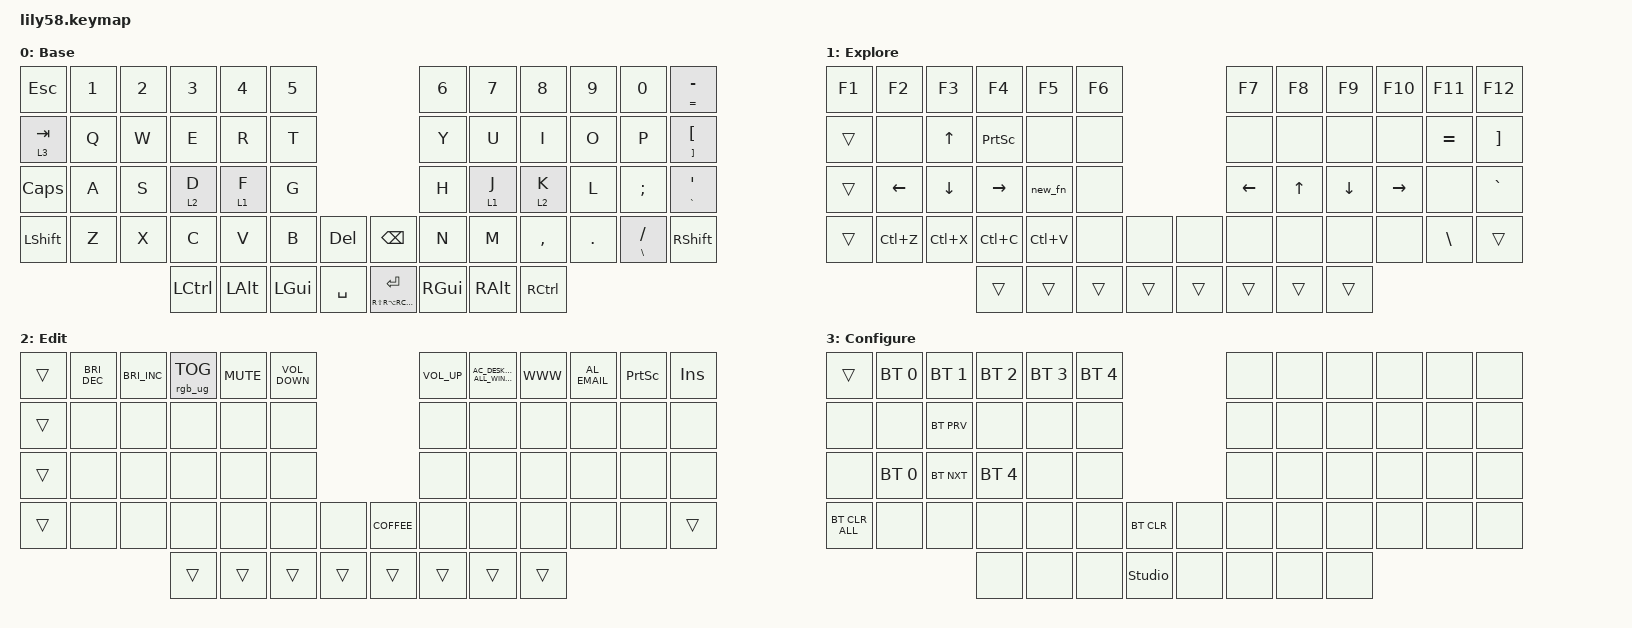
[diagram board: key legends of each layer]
/*
 * Copyright (c) 2020 The ZMK Contributors
 *
 * SPDX-License-Identifier: MIT
 */

#include <behaviors.dtsi>
#include <dt-bindings/zmk/bt.h>
#include <dt-bindings/zmk/keys.h>
#include <dt-bindings/zmk/rgb.h>

/ {
    macros {
        new_fn: new_fn {
            compatible = "zmk,behavior-macro";
            #binding-cells = <0>;
            bindings =
                <&none &kp EQUAL &kp SPACE &kp LPAR &kp RPAR &kp SPACE &kp EQUAL &kp GT &kp SPACE &kp LEFT &kp LEFT &kp LEFT &kp LEFT &kp LEFT>,
                <&macro_press>;

            label = "NEW_FN";
        };
    };

    keymap {
        compatible = "zmk,keymap";

        base {
            // ------------------------------------------------------------------------------------------------------------
            // |  ESC  |  1  |  2  |  3   |  4   |  5   |                   |  6   |  7    |  8    |  9   |   0   |   `   |
            // |  TAB  |  Q  |  W  |  E   |  R   |  T   |                   |  Y   |  U    |  I    |  O   |   P   |   -   |
            // |  CTRL |  A  |  S  |  D   |  F   |  G   |                   |  H   |  J    |  K    |  L   |   ;   |   '   |
            // | SHIFT |  Z  |  X  |  C   |  V   |  B   |   "["  |  |  "]"  |  N   |  M    |  ,    |  .   |   /   | SHIFT |
            //                     | ALT  | GUI  | LOWER|  SPACE |  | ENTER | RAISE| BSPC  | GUI   |

            bindings = <
&kp ESCAPE      &kp N1  &kp N2  &kp N3     &kp N4        &kp N5                                                       &kp N6         &kp N7    &kp N8     &kp N9   &kp N0               &mt EQUAL MINUS
&lt 3 TAB       &kp Q   &kp W   &kp E      &kp R         &kp T                                                        &kp Y          &kp U     &kp I      &kp O    &kp P                &mt RIGHT_BRACKET LEFT_BRACKET
&kp CAPSLOCK    &kp A   &kp S   &lt 2 D    &lt 1 F       &kp G                                                        &kp H          &lt 1 J   &lt 2 K    &kp L    &kp SEMI             &mt GRAVE SQT
&kp LEFT_SHIFT  &kp Z   &kp X   &kp C      &kp V         &kp B         &kp DELETE    &kp BACKSPACE                    &kp N          &kp M     &kp COMMA  &kp DOT  &mt BACKSLASH SLASH  &kp RIGHT_SHIFT
                                &kp LCTRL  &kp LEFT_ALT  &kp LEFT_GUI  &kp SPACE     &mt RS(RA(RC(RIGHT_GUI))) ENTER  &kp RIGHT_GUI  &kp RALT  &kp RCTRL
            >;

            label = "Base";
        };

        explore {
            // --------------------------------------------------------------------------------------------------------------
            // | LPAD  | BRDn | BRUp |  MUT |  Vo- |  Vo+ |                   |      |       |       |      |       |       |
            // |  F1   |  F2  |  F3  |  F4  |  F5  |  F6  |                   |  F7  |  F8   |  F9   |  F10 |  F11  |  F12  |
            // |   `   |  !   |  @   |  #   |  $   |  %   |                   |  ^   |  &    |  *    |  (   |   )   |   ~   |
            // |       |      |      |      |      |      |        |  |       |      |  _    |  +    |  {   |   }   |  "|"  |
            //                       |      |      |      |        |  |       |      |       |       |

            bindings = <
&kp F1  &kp F2     &kp F3     &kp F4           &kp F5     &kp F6                    &kp F7    &kp F8        &kp F9    &kp F10    &kp F11        &kp F12
&trans  &none      &kp UP     &kp PRINTSCREEN  &none      &none                     &none     &none         &none     &none      &kp EQUAL      &kp RIGHT_BRACKET
&trans  &kp LEFT   &kp DOWN   &kp RIGHT        &new_fn    &none                     &kp LEFT  &kp UP_ARROW  &kp DOWN  &kp RIGHT  &none          &kp GRAVE
&trans  &kp LC(Z)  &kp LC(X)  &kp LC(C)        &kp LC(V)  &none   &none     &none   &none     &none         &none     &none      &kp BACKSLASH  &trans
                              &trans           &trans     &trans  &trans    &trans  &trans    &trans        &trans
            >;

            label = "Explore";
        };

        edit {
            bindings = <
&trans  &kp C_BRIGHTNESS_DEC  &kp C_BRIGHTNESS_INC  &rgb_ug RGB_TOG  &kp K_MUTE  &kp C_VOLUME_DOWN                          &kp C_VOLUME_UP  &kp C_AC_DESKTOP_SHOW_ALL_WINDOWS  &kp K_WWW  &kp C_AL_EMAIL  &kp PRINTSCREEN  &kp INSERT
&trans  &none                 &none                 &none            &none       &none                                      &none            &none                              &none      &none           &none            &none
&trans  &none                 &none                 &none            &none       &none                                      &none            &none                              &none      &none           &none            &none
&trans  &none                 &none                 &none            &none       &none              &none     &kp K_COFFEE  &none            &none                              &none      &none           &none            &trans
                                                    &trans           &trans      &trans             &trans    &trans        &trans           &trans                             &trans
            >;

            label = "Edit";
        };

        config {
            bindings = <
&trans          &bt BT_SEL 0  &bt BT_SEL 1  &bt BT_SEL 2  &bt BT_SEL 3  &bt BT_SEL 4                           &none  &none  &none  &none  &none  &none
&none           &none         &bt BT_PRV    &none         &none         &none                                  &none  &none  &none  &none  &none  &none
&none           &bt BT_SEL 0  &bt BT_NXT    &bt BT_SEL 4  &none         &none                                  &none  &none  &none  &none  &none  &none
&bt BT_CLR_ALL  &none         &none         &none         &none         &none         &bt BT_CLR        &none  &none  &none  &none  &none  &none  &none
                                            &none         &none         &none         &studio_unlock    &none  &none  &none  &none
            >;

            label = "Configure";
        };
    };
};
